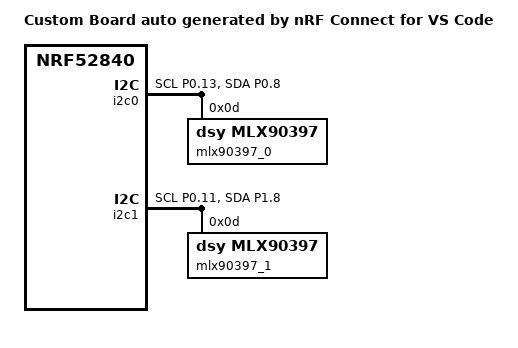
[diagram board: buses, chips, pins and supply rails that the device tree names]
/dts-v1/;
#include <nordic/nrf52840_qfaa.dtsi>
#include "MechanicalSensor-pinctrl.dtsi"

/ {
	model = "Custom Board auto generated by nRF Connect for VS Code";
	compatible = "DSY,MechanicalSensor";

	chosen {
		zephyr,sram = &sram0;
		zephyr,flash = &flash0;
		zephyr,code-partition = &slot0_partition;
	};
};

&flash0 {
	partitions {
		compatible = "fixed-partitions";
		#address-cells = <1>;
		#size-cells = <1>;

		boot_partition: partition@0 {
			label = "mcuboot";
			reg = <0x00000000 DT_SIZE_K(48)>;
		};

		slot0_partition: partition@c000 {
			label = "image-0";
			reg = <0x0000c000 DT_SIZE_K(472)>;
		};

		slot1_partition: partition@82000 {
			label = "image-1";
			reg = <0x00082000 DT_SIZE_K(472)>;
		};

		storage_partition: partition@f8000 {
			label = "storage";
			reg = <0x000f8000 DT_SIZE_K(32)>;
		};
	};
};

&gpio0 {
	status = "okay";
};

&gpio1 {
	status = "okay";
};
&gpiote {
	status = "okay";
};

&i2c0 {
    status = "okay";
    pinctrl-0 = <&i2c0_default>;
    pinctrl-1 = <&i2c0_sleep>;
    pinctrl-names = "default", "sleep";

    mlx90397_0: mlx90397@d {
        compatible = "dsy,mlx90397";
        reg = <0x0d>;
        status = "okay";
    };
};

&i2c1 {
    status = "okay";
    pinctrl-0 = <&i2c1_default>;
    pinctrl-1 = <&i2c1_sleep>;
    pinctrl-names = "default", "sleep";

    mlx90397_1: mlx90397@d {
        compatible = "dsy,mlx90397";
        reg = <0x0d>;
        status = "okay";
    };
};

&pinctrl {
	i2c0_default: i2c0_default {
		group1 {
			psels = <
				NRF_PSEL(TWIM_SCL, 0, 13)
				NRF_PSEL(TWIM_SDA, 0, 8)
			>;
		};
	};

	i2c0_sleep: i2c0_sleep {
		group1 {
			psels = <
				NRF_PSEL(TWIM_SCL, 0, 13)
				NRF_PSEL(TWIM_SDA, 0, 8)
			>;
		};
	};

	i2c1_default: i2c1_default {
		group1 {
			psels = <
				NRF_PSEL(TWIM_SCL, 0, 11) /* <-- 改成你的 I2C1 SCL */
				NRF_PSEL(TWIM_SDA, 1, 8) /* <-- 改成你的 I2C1 SDA */
			>;
		};
	};

	i2c1_sleep: i2c1_sleep {
		group1 {
			psels = <
				NRF_PSEL(TWIM_SCL, 0, 11) /* <-- 同上 */
				NRF_PSEL(TWIM_SDA, 1, 8) /* <-- 同上 */
			>;
		};
	};
};

